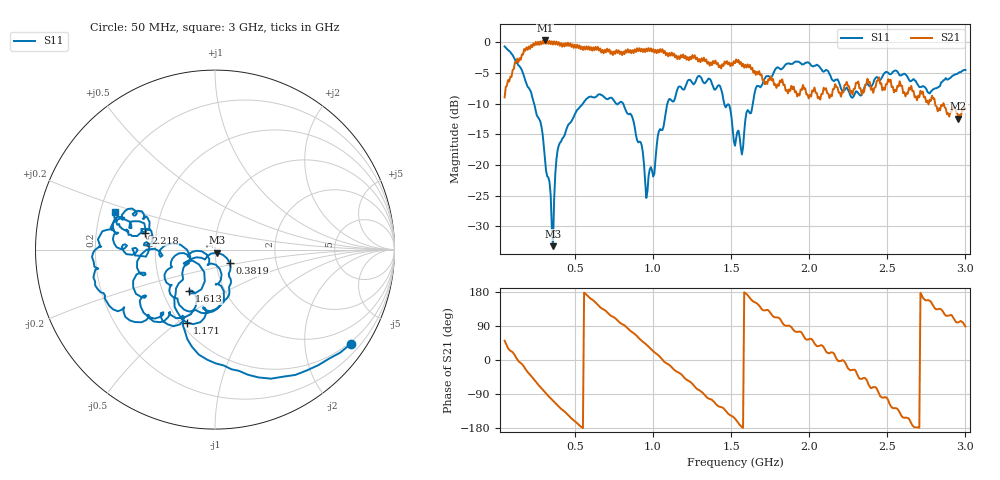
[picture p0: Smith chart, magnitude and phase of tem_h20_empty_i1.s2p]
! nanovna_capture.py 2026-10-26T22:01:27+0900
! NanoVNA-F_V2 fw 0.6.0 SN 4A3639384505514B
! cal: load open short thru cal'ed  over 50000000-3000000000 Hz, 201 points
! points 401, avg 4
! TEM cell h=20, empty, end of interleaved run
# HZ S RI R 50
! S12 and S22 are not measured (written as 0)
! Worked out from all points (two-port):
!   401 points, 50 MHz to 3 GHz, reference 50 ohm
!   highest |S21| = 0.27 dB at 308.1 MHz (marker M1); lowest = -12.5 dB at 2.956 GHz (marker M2)
!   |S21| within 3 dB of the highest: 154.5 MHz to 1.156 GHz (1.001 GHz wide, 153 % of centre); 1.171 GHz to 1.214 GHz (42.29 MHz wide, 3.55 % of centre) (the widest 2 of 11)
!   lowest |S11| = -33.2 dB at 359.8 MHz (marker M3), VSWR 1.04, Z = 51.2 - j1.83 ohm
!   |S11| at or under -10 dB: 238.8 MHz to 551.9 MHz (313.1 MHz wide, 79.2 % of centre); 808.5 MHz to 1.092 GHz (283.9 MHz wide, 29.9 % of centre); 1.456 GHz to 1.639 GHz (183.2 MHz wide, 11.8 % of centre) (the widest 3 of 4)
!   S12 and S22 are empty: the file has one direction only
!   S11 on the Smith chart (normalised r, x): 50 MHz: 0.45, -3.15; 381.9 MHz: 1.16, -0.18; 1.171 GHz: 0.54, -0.54; 1.613 GHz: 0.68, -0.34; 2.218 GHz: 0.43, +0.10; 3 GHz: 0.26, +0.17
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5e7  0.7587 -0.5237  0.2241 0.2748  0 0  0 0
1.75375e8  -0.1542 -0.499  0.8331 -0.2793  0 0  0 0
3.08125e8  -0.1031 -0.0431  0.0918 -1.028  0 0  0 0
3.5975e8  0.0124 -0.0179  -0.2846 -0.9134  0 0  0 0
3.81875e8  0.0822 -0.0753  -0.4535 -0.9038  0 0  0 0
5.44125e8  0.0333 -0.3054  -0.9196 -0.0391  0 0  0 0
6.62125e8  -0.1727 -0.3339  -0.6718 0.5807  0 0  0 0
8.24375e8  -0.2592 -0.1081  0.0141 0.86  0 0  0 0
9.645e8  -0.0321 -0.0519  0.6624 0.5198  0 0  0 0
1.03825e9  0.0203 -0.1874  0.8082 0.158  0 0  0 0
1.171e9  -0.1552 -0.4067  0.5973 -0.4166  0 0  0 0
1.325875e9  -0.3896 -0.2546  -0.000567 -0.7469  0 0  0 0
1.429125e9  -0.4337 -0.0653  -0.3574 -0.5385  0 0  0 0
1.525e9  -0.138 -0.0384  -0.6092 -0.2875  0 0  0 0
1.6135e9  -0.1455 -0.2306  -0.6085 0.1375  0 0  0 0
1.783125e9  -0.4465 -0.4035  -0.1728 0.4206  0 0  0 0
2.019125e9  -0.6382 0.0182  0.2388 0.3264  0 0  0 0
2.21825e9  -0.3875 0.0952  0.3891 -0.0062  0 0  0 0
2.51325e9  -0.5408 0.0936  -0.1987 -0.4325  0 0  0 0
2.653375e9  -0.4434 0.19  -0.4286 -0.0995  0 0  0 0
2.95575e9  -0.5441 0.1377  -0.0397 0.2348  0 0  0 0
3e9  -0.5554 0.2073  0.00721 0.2844  0 0  0 0
